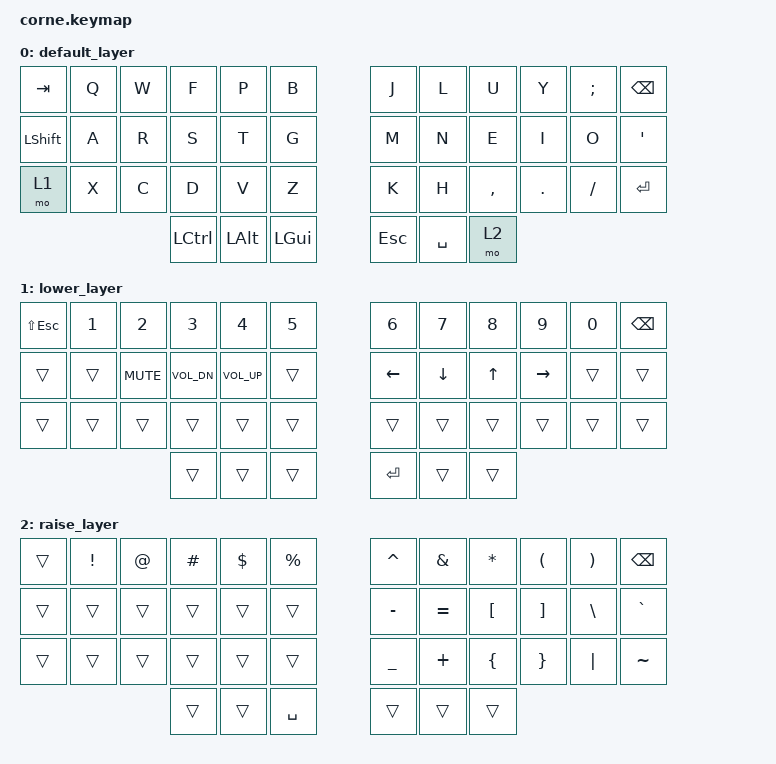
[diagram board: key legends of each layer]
/*
 * Copyright (c) 2020 The ZMK Contributors
 *
 * SPDX-License-Identifier: MIT
 */

#include <behaviors.dtsi>
#include <dt-bindings/zmk/keys.h>

/ {
    keymap {
        compatible = "zmk,keymap";

        default_layer {
            // -----------------------------------------------------------------------------------------
            // |  TAB |  Q  |  W  |  E  |  R  |  T  |   |  Y  |  U   |  I  |  O  |  P  | BSPC |
            // | CTRL |  A  |  S  |  D  |  F  |  G  |   |  H  |  J   |  K  |  L  |  ;  |  '   |
            // | SHFT |  Z  |  X  |  C  |  V  |  B  |   |  N  |  M   |  ,  |  .  |  /  | ESC  |
            //                    | GUI | LWR | SPC |   | ENT | RSE  | ALT |

            bindings = <
&kp TAB         &kp Q  &kp W  &kp F             &kp P         &kp B           &kp J    &kp L      &kp U      &kp Y    &kp SEMICOLON  &kp BSPC
&kp LEFT_SHIFT  &kp A  &kp R  &kp S             &kp T         &kp G           &kp M    &kp N      &kp E      &kp I    &kp O          &kp SQT
&mo 1           &kp X  &kp C  &kp D             &kp V         &kp Z           &kp K    &kp H      &kp COMMA  &kp DOT  &kp FSLH       &kp RETURN
                              &kp LEFT_CONTROL  &kp LEFT_ALT  &kp LEFT_GUI    &kp ESC  &kp SPACE  &mo 2
            >;
        };

        lower_layer {
            // -----------------------------------------------------------------------------------------
            // |  TAB |  1  |  2  |  3  |  4  |  5  |   |  6  |  7  |  8  |  9  |  0  | BSPC |
            // | BTCLR| BT1 | BT2 | BT3 | BT4 | BT5 |   | LFT | DWN |  UP | RGT |     |      |
            // | SHFT |     |     |     |     |     |   |     |     |     |     |     |      |
            //                    | GUI |     | SPC |   | ENT |     | ALT |

            bindings = <
&kp LS(ESC)  &kp N1  &kp N2      &kp N3        &kp N4           &kp N5    &kp N6    &kp N7    &kp N8  &kp N9     &kp N0  &kp BSPC
&trans       &trans  &kp K_MUTE  &kp C_VOL_DN  &kp C_VOLUME_UP  &trans    &kp LEFT  &kp DOWN  &kp UP  &kp RIGHT  &trans  &trans
&trans       &trans  &trans      &trans        &trans           &trans    &trans    &trans    &trans  &trans     &trans  &trans
                                 &trans        &trans           &trans    &kp RET   &trans    &trans
            >;
        };

        raise_layer {
            // -----------------------------------------------------------------------------------------
            // |  TAB |  !  |  @  |  #  |  $  |  %  |   |  ^  |  &  |  *  |  (  |  )  | BSPC |
            // | CTRL |     |     |     |     |     |   |  -  |  =  |  [  |  ]  |  \  |  `   |
            // | SHFT |     |     |     |     |     |   |  _  |  +  |  {  |  }  | "|" |  ~   |
            //                    | GUI |     | SPC |   | ENT |     | ALT |

            bindings = <
&trans  &kp EXCL  &kp AT  &kp HASH  &kp DLLR  &kp PRCNT    &kp CARET  &kp AMPS   &kp ASTRK  &kp LPAR  &kp RPAR  &kp BSPC
&trans  &trans    &trans  &trans    &trans    &trans       &kp MINUS  &kp EQUAL  &kp LBKT   &kp RBKT  &kp BSLH  &kp GRAVE
&trans  &trans    &trans  &trans    &trans    &trans       &kp UNDER  &kp PLUS   &kp LBRC   &kp RBRC  &kp PIPE  &kp TILDE
                          &trans    &trans    &kp SPACE    &trans     &trans     &trans
            >;
        };
    };
};
